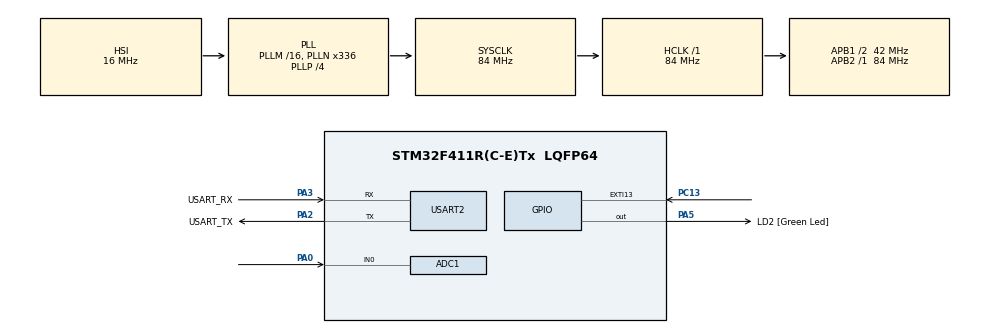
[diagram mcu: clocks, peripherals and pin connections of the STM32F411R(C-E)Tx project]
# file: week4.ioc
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ADC1.Channel-2\#ChannelRegularConversion=ADC_CHANNEL_TEMPSENSOR
ADC1.Channel-3\#ChannelRegularConversion=ADC_CHANNEL_0
ADC1.ContinuousConvMode=ENABLE
ADC1.DMAContinuousRequests=ENABLE
ADC1.NbrOfConversion=2
ADC1.NbrOfConversionFlag=1
ADC1.Rank-2\#ChannelRegularConversion=1
ADC1.Rank-3\#ChannelRegularConversion=2
ADC1.SamplingTime-2\#ChannelRegularConversion=ADC_SAMPLETIME_56CYCLES
ADC1.SamplingTime-3\#ChannelRegularConversion=ADC_SAMPLETIME_56CYCLES
ADC1.master=1
Dma.ADC1.0.Direction=DMA_PERIPH_TO_MEMORY
Dma.ADC1.0.FIFOMode=DMA_FIFOMODE_DISABLE
Dma.ADC1.0.Instance=DMA2_Stream0
Dma.ADC1.0.MemDataAlignment=DMA_MDATAALIGN_HALFWORD
Dma.ADC1.0.MemInc=DMA_MINC_ENABLE
Dma.ADC1.0.Mode=DMA_CIRCULAR
Dma.ADC1.0.PeriphDataAlignment=DMA_PDATAALIGN_HALFWORD
Dma.ADC1.0.PeriphInc=DMA_PINC_DISABLE
Dma.ADC1.0.Priority=DMA_PRIORITY_LOW
Dma.Request0=ADC1
Mcu.Family=STM32F4
Mcu.Name=STM32F411R(C-E)Tx
Mcu.Package=LQFP64
NVIC.ADC_IRQn=true\:0\:0\:false\:false\:true\:true\:true\:true
NVIC.DMA2_Stream0_IRQn=true\:0\:0\:false\:false\:true\:false\:true\:true
NVIC.EXTI15_10_IRQn=true\:0\:0\:false\:false\:true\:true\:true\:true
NVIC.PriorityGroup=NVIC_PRIORITYGROUP_0
PA0-WKUP.Signal=ADCx_IN0
PA13.GPIO_Label=TMS
PA13.Mode=Serial_Wire
PA13.Signal=SYS_JTMS-SWDIO
PA14.GPIO_Label=TCK
PA14.Mode=Serial_Wire
PA14.Signal=SYS_JTCK-SWCLK
PA2.GPIO_Label=USART_TX
PA2.Mode=Asynchronous
PA2.Signal=USART2_TX
PA3.GPIO_Label=USART_RX
PA3.Mode=Asynchronous
PA3.Signal=USART2_RX
PA5.GPIO_Label=LD2 [Green Led]
PA5.GPIO_ModeDefaultOutputPP=GPIO_MODE_OUTPUT_PP
PA5.GPIO_PuPd=GPIO_NOPULL
PA5.Signal=GPIO_Output
PB3.GPIO_Label=SWO
PB3.Signal=SYS_JTDO-SWO
PC13-ANTI_TAMP.GPIO_ModeDefaultEXTI=GPIO_MODE_IT_FALLING
PC13-ANTI_TAMP.Signal=GPXTI13
PC14-OSC32_IN.Mode=LSE-External-Oscillator
PC14-OSC32_IN.Signal=RCC_OSC32_IN
PC15-OSC32_OUT.Mode=LSE-External-Oscillator
PC15-OSC32_OUT.Signal=RCC_OSC32_OUT
PH0\ -\ OSC_IN.Mode=HSE-External-Clock-Source
PH0\ -\ OSC_IN.Signal=RCC_OSC_IN
PH1\ -\ OSC_OUT.Mode=HSE-External-Clock-Source
PH1\ -\ OSC_OUT.Signal=RCC_OSC_OUT
ProjectManager.HeapSize=0x200
ProjectManager.StackSize=0x400
ProjectManager.TargetToolchain=STM32CubeIDE
RCC.48MHZClocksFreq_Value=84000000
RCC.AHBFreq_Value=84000000
RCC.APB1CLKDivider=RCC_HCLK_DIV2
RCC.APB1Freq_Value=42000000
RCC.APB1TimFreq_Value=84000000
RCC.APB2Freq_Value=84000000
RCC.APB2TimFreq_Value=84000000
RCC.CortexFreq_Value=84000000
RCC.FLatency-AdvancedSettings=FLASH_LATENCY_2
RCC.HCLKFreq_Value=84000000
RCC.HSE_VALUE=8000000
RCC.HSI_VALUE=16000000
RCC.PLLN=336
RCC.PLLP=RCC_PLLP_DIV4
RCC.SYSCLKFreq_VALUE=84000000
RCC.SYSCLKSource=RCC_SYSCLKSOURCE_PLLCLK
RCC.VCOOutputFreq_Value=336000000
SH.ADCx_IN0.0=ADC1_IN0,IN0
USART2.VirtualMode=VM_ASYNC
VP_ADC1_TempSens_Input.Mode=IN-TempSens
board=NUCLEO-F411RE

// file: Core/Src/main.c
/* USER CODE BEGIN Header */
/**
  ******************************************************************************
  * @file           : main.c
  * @brief          : Main program body
  ******************************************************************************
  * @attention
  *
  * Copyright (c) 2023 STMicroelectronics.
  * All rights reserved.
  *
  * This software is licensed under terms that can be found in the LICENSE file
  * in the root directory of this software component.
  * If no LICENSE file comes with this software, it is provided AS-IS.
  *
  ******************************************************************************
  */
/* USER CODE END Header */
#include "main.h"

ADC_HandleTypeDef hadc1;
DMA_HandleTypeDef hdma_adc1;

UART_HandleTypeDef huart2;

/* USER CODE BEGIN PV */
	uint32_t adcRawData;
	uint16_t bufferdata[20];
	uint8_t i;
	uint32_t RawVolt;
	uint32_t RawTemp;
	float MeanV = 0 ;
	float MeanT = 0 ;
	float Volt = 0 ;
	float Temp = 0 ;
	float Temp_ans = 0;

/* USER CODE END PV */

void SystemClock_Config(void);
static void MX_GPIO_Init(void);
static void MX_DMA_Init(void);
static void MX_USART2_UART_Init(void);
static void MX_ADC1_Init(void);

int main(void)
{

  /* MCU Configuration--------------------------------------------------------*/

  /* Reset of all peripherals, Initializes the Flash interface and the Systick. */
  HAL_Init();

  /* Configure the system clock */
  SystemClock_Config();

  /* Initialize all configured peripherals */
  MX_GPIO_Init();
  MX_DMA_Init();
  MX_USART2_UART_Init();
  MX_ADC1_Init();

  /* Infinite loop */
  while (1)
  {
    /* USER CODE BEGIN 3 */
	  static uint32_t timestamp=0;
	  if(HAL_GetTick()>=timestamp)
	  {
		  timestamp =HAL_GetTick() + 1000;
		  RawVolt = 0;
		  RawTemp = 0;
		  for (i = 0; i < 20; i++) {
		    if(i%2 == 1){RawVolt += bufferdata[i];}
		    else if(i%2 == 0){RawTemp += bufferdata[i];}
		    }
		  MeanV = RawVolt / 10;
		  Volt = MeanV *(3.3/4095)*2*1000;

		  MeanT = RawTemp/10;
		  Temp =(((RawTemp*(3.3/4095))-0.0025)/0.76) + 25;
		  Temp_ans = Temp + 273.5; //แปลงเป็นkelvin
	  }

	  }

  /* USER CODE END 3 */
}

void SystemClock_Config(void)
{
  RCC_OscInitTypeDef RCC_OscInitStruct = {0};
  RCC_ClkInitTypeDef RCC_ClkInitStruct = {0};

  /** Configure the main internal regulator output voltage
  */
  __HAL_RCC_PWR_CLK_ENABLE();
  __HAL_PWR_VOLTAGESCALING_CONFIG(PWR_REGULATOR_VOLTAGE_SCALE1);

  /** Initializes the RCC Oscillators according to the specified parameters
  * in the RCC_OscInitTypeDef structure.
  */
  RCC_OscInitStruct.OscillatorType = RCC_OSCILLATORTYPE_HSI;
  RCC_OscInitStruct.HSIState = RCC_HSI_ON;
  RCC_OscInitStruct.HSICalibrationValue = RCC_HSICALIBRATION_DEFAULT;
  RCC_OscInitStruct.PLL.PLLState = RCC_PLL_ON;
  RCC_OscInitStruct.PLL.PLLSource = RCC_PLLSOURCE_HSI;
  RCC_OscInitStruct.PLL.PLLM = 16;
  RCC_OscInitStruct.PLL.PLLN = 336;
  RCC_OscInitStruct.PLL.PLLP = RCC_PLLP_DIV4;
  RCC_OscInitStruct.PLL.PLLQ = 4;
  if (HAL_RCC_OscConfig(&RCC_OscInitStruct) != HAL_OK)
  {
    Error_Handler();
  }

  /** Initializes the CPU, AHB and APB buses clocks
  */
  RCC_ClkInitStruct.ClockType = RCC_CLOCKTYPE_HCLK|RCC_CLOCKTYPE_SYSCLK
                              |RCC_CLOCKTYPE_PCLK1|RCC_CLOCKTYPE_PCLK2;
  RCC_ClkInitStruct.SYSCLKSource = RCC_SYSCLKSOURCE_PLLCLK;
  RCC_ClkInitStruct.AHBCLKDivider = RCC_SYSCLK_DIV1;
  RCC_ClkInitStruct.APB1CLKDivider = RCC_HCLK_DIV2;
  RCC_ClkInitStruct.APB2CLKDivider = RCC_HCLK_DIV1;

  if (HAL_RCC_ClockConfig(&RCC_ClkInitStruct, FLASH_LATENCY_2) != HAL_OK)
  {
    Error_Handler();
  }
}

static void MX_ADC1_Init(void)
{

  ADC_ChannelConfTypeDef sConfig = {0};

  /** Configure the global features of the ADC (Clock, Resolution, Data Alignment and number of conversion)
  */
  hadc1.Instance = ADC1;
  hadc1.Init.ClockPrescaler = ADC_CLOCK_SYNC_PCLK_DIV4;
  hadc1.Init.Resolution = ADC_RESOLUTION_12B;
  hadc1.Init.ScanConvMode = ENABLE;
  hadc1.Init.ContinuousConvMode = ENABLE;
  hadc1.Init.DiscontinuousConvMode = DISABLE;
  hadc1.Init.ExternalTrigConvEdge = ADC_EXTERNALTRIGCONVEDGE_NONE;
  hadc1.Init.ExternalTrigConv = ADC_SOFTWARE_START;
  hadc1.Init.DataAlign = ADC_DATAALIGN_RIGHT;
  hadc1.Init.NbrOfConversion = 2;
  hadc1.Init.DMAContinuousRequests = ENABLE;
  hadc1.Init.EOCSelection = ADC_EOC_SINGLE_CONV;
  if (HAL_ADC_Init(&hadc1) != HAL_OK)
  {
    Error_Handler();
  }

  /** Configure for the selected ADC regular channel its corresponding rank in the sequencer and its sample time.
  */
  sConfig.Channel = ADC_CHANNEL_TEMPSENSOR;
  sConfig.Rank = 1;
  sConfig.SamplingTime = ADC_SAMPLETIME_56CYCLES;
  if (HAL_ADC_ConfigChannel(&hadc1, &sConfig) != HAL_OK)
  {
    Error_Handler();
  }

  /** Configure for the selected ADC regular channel its corresponding rank in the sequencer and its sample time.
  */
  sConfig.Channel = ADC_CHANNEL_0;
  sConfig.Rank = 2;
  if (HAL_ADC_ConfigChannel(&hadc1, &sConfig) != HAL_OK)
  {
    Error_Handler();
  }

}

static void MX_USART2_UART_Init(void)
{

  huart2.Instance = USART2;
  huart2.Init.BaudRate = 115200;
  huart2.Init.WordLength = UART_WORDLENGTH_8B;
  huart2.Init.StopBits = UART_STOPBITS_1;
  huart2.Init.Parity = UART_PARITY_NONE;
  huart2.Init.Mode = UART_MODE_TX_RX;
  huart2.Init.HwFlowCtl = UART_HWCONTROL_NONE;
  huart2.Init.OverSampling = UART_OVERSAMPLING_16;
  if (HAL_UART_Init(&huart2) != HAL_OK)
  {
    Error_Handler();
  }

}

static void MX_DMA_Init(void)
{

  /* DMA controller clock enable */
  __HAL_RCC_DMA2_CLK_ENABLE();

  /* DMA interrupt init */
  /* DMA2_Stream0_IRQn interrupt configuration */
  HAL_NVIC_SetPriority(DMA2_Stream0_IRQn, 0, 0);
  HAL_NVIC_EnableIRQ(DMA2_Stream0_IRQn);

}

static void MX_GPIO_Init(void)
{
  GPIO_InitTypeDef GPIO_InitStruct = {0};

  /* GPIO Ports Clock Enable */
  __HAL_RCC_GPIOC_CLK_ENABLE();
  __HAL_RCC_GPIOH_CLK_ENABLE();
  __HAL_RCC_GPIOA_CLK_ENABLE();
  __HAL_RCC_GPIOB_CLK_ENABLE();

  /*Configure GPIO pin Output Level */
  HAL_GPIO_WritePin(LD2_GPIO_Port, LD2_Pin, GPIO_PIN_RESET);

  /*Configure GPIO pin : PC13 */
  GPIO_InitStruct.Pin = GPIO_PIN_13;
  GPIO_InitStruct.Mode = GPIO_MODE_IT_FALLING;
  GPIO_InitStruct.Pull = GPIO_NOPULL;
  HAL_GPIO_Init(GPIOC, &GPIO_InitStruct);

  /*Configure GPIO pin : LD2_Pin */
  GPIO_InitStruct.Pin = LD2_Pin;
  GPIO_InitStruct.Mode = GPIO_MODE_OUTPUT_PP;
  GPIO_InitStruct.Pull = GPIO_NOPULL;
  GPIO_InitStruct.Speed = GPIO_SPEED_FREQ_LOW;
  HAL_GPIO_Init(LD2_GPIO_Port, &GPIO_InitStruct);

  /* EXTI interrupt init*/
  HAL_NVIC_SetPriority(EXTI15_10_IRQn, 0, 0);
  HAL_NVIC_EnableIRQ(EXTI15_10_IRQn);

}

/* USER CODE BEGIN 4 */
void HAL_GPIO_EXTI_Callback(uint16_t GPIO_Pin)
{
	if(GPIO_Pin == GPIO_PIN_13){
	HAL_ADC_Start_DMA(&hadc1, bufferdata, 20);
	}

}
void HAL_ADC_ConvCpltCallback(ADC_HandleTypeDef* hadc)
{
	adcRawData = HAL_ADC_GetValue(&hadc1);
}
/* USER CODE END 4 */

void Error_Handler(void)
{
  __disable_irq();
  while (1)
  {
  }
}
